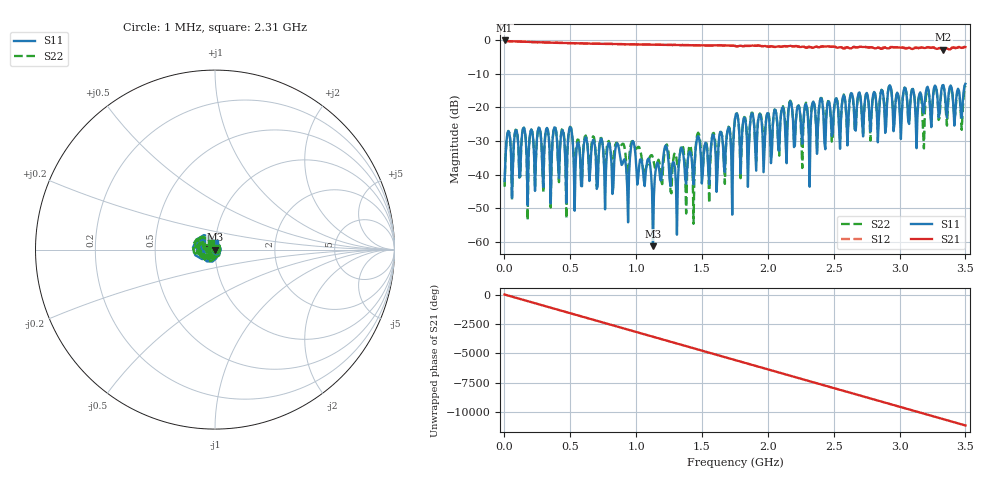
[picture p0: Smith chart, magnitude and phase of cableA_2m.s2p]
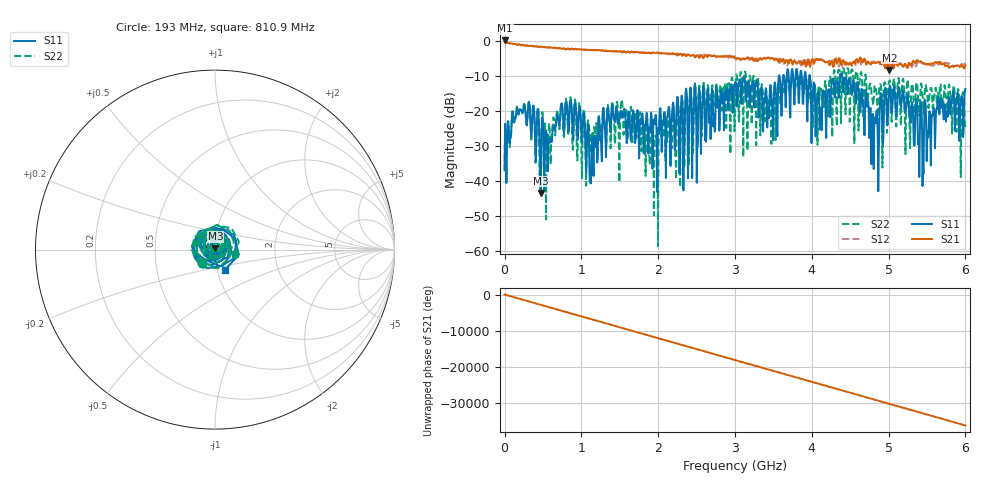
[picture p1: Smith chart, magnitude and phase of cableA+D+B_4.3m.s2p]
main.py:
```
#%%
import serdespy as sdp
import numpy as np
import matplotlib.pyplot as plt
import skrf as rf
import scipy as sp

cableA = './sparams/cableA_2m.s2p'
cableB = './sparams/cableA+D+B_4.3m.s2p'
cableC = './sparams/cableA+D+B+E+C_6.45m.s2p'

#load in touchstone file containing s-params of 2m copper cable connector
thru_file = './sparams/cableA_2m.s2p'
nw = rf.Network(thru_file)

#%%
# generate prbs data with 2e13-1 elements
binary_data = sdp.prbs13(1)

# standard NRZ signal
voltage_levels = np.array([-1, 1])

# baud rate samples signal generated from the binary data and voltage levels
signal_BR = sdp.nrz_input_BR(binary_data, voltage_levels)

# number of samples per NRZ symbol
samples_per_symbol = 100

# oversample the baud rate signal
signal = np.repeat(signal_BR, samples_per_symbol)

# 1Gbps data rate
data_rate = 3e9

# time per bit or unit interval
UI = 1 / data_rate

# timestep in NRZ
dt = UI / samples_per_symbol

# generate eye diagram of ideal signal with 3 UI
sdp.simple_eye(signal, samples_per_symbol*3, 100, dt, f'{data_rate/1e9}Gbps NRZ Signal')





# %% LPF

# 500MHz cutoff frequency
freq_bw = 3e9

# max frequency for constructing discrete transfer function
max_f = 1 / dt

# max_f in rad/s
max_w = max_f * 2 * np.pi

# impulse response length
ir_length = 800

# calculate discrete transfer function of LPF with pole at freq_bw
w, H = sp.signal.freqs([freq_bw * (2 * np.pi)], [1, freq_bw * (2 * np.pi)], np.linspace(0, 0.5 * max_w, ir_length * 4))

# frequency vector for discrete transfer function in Hz
f = w / (2 * np.pi)

#plot frequency response of the LPF
plt.figure(dpi=800)
plt.semilogx(1e-9 * f, 20 * np.log10(abs(H)))
plt.ylabel("Magnitude Response (dB)")
plt.xlabel("Frequency (GHz)")
plt.title(f"Low Pass Filter with {round(freq_bw * 1e-6)}MHz Cutoff Magnitude Bode Plot")
plt.grid()
plt.axvline(x=1e-9*freq_bw, color='grey')
plt.show()

# %%
# find impulse response of LPF
h, t = sdp.freq2impulse(H, f)

# plot impulse response of LPF
plt.figure(dpi=800)
plt.plot(t[:400] * 1e12, h[:400])
plt.title(f"Low Pass Filter with {round(freq_bw * 1e-6)}MHz Cutoff Impulse Response")
plt.xlabel("Time (ps)")
plt.ylabel("Voltage (V)")
plt.show()
# %%

# filtered signal is convoltuion of the impulse response with the signal
signal_filtered = sp.signal.fftconvolve(signal, h[:400])

sdp.simple_eye(signal_filtered[samples_per_symbol*100:], samples_per_symbol*3, 100, UI/samples_per_symbol, f"{data_rate/1e9}Gbps NRZ Signal with {round(freq_bw * 1e-6)}MHz Cutoff Filter")
# # %%

#%%
# t, y = nw.impulse_response()

s12_gated = nw.s12.time_gate(center=0, span=25, t_unit='ns')
# s12_gated.plot_s_db_time()
t, h = s12_gated.impulse_response()

nw.s12.plot_s_db()


# t_start = 545
# t_stop = 600
# plt.stem(t[t_start:t_stop],h[t_start:t_stop])
# plt.show()

# signal_cable = sp.signal.fftconvolve(signal,h[t_start:t_stop])

# sdp.simple_eye(signal_cable[samples_per_symbol*100:], samples_per_symbol*3, 100, UI/samples_per_symbol, title="convolved")

# %%
```
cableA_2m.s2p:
# GHZ S RI R 50.000000000000
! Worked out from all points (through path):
!   501 points, 1 MHz to 3.5 GHz, reference 50 ohm
!   highest |S21| = -0.05 dB at 1 MHz (marker M1); lowest = -2.8 dB at 3.332 GHz (marker M2)
!   group delay of S21, straight-line fit = 8.81 ns
!   lowest |S11| = -61.3 dB at 1.128 GHz (marker M3), VSWR 1.00, Z = 50 - j0.0795 ohm
!   |S11| at or under -10 dB: start of sweep to end of sweep
!   |S22| runs from -54.6 to -13.4 dB; largest |S21 - S12| = 0.029
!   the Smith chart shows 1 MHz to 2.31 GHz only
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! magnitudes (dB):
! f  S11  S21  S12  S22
! 1 MHz  -41.9  0.0  -0.1  -43.6
! 28.99 MHz  -27.0  -0.2  -0.3  -27.0
! 497.9 MHz  -25.8  -0.9  -0.9  -25.8
! 931.7 MHz  -43.6  -1.2  -1.2  -41.9
! 973.7 MHz  -30.0  -1.2  -1.2  -30.1
! 1.128 GHz  -61.3  -1.3  -1.3  -35.0
! 1.226 GHz  -31.3  -1.4  -1.4  -31.3
! 1.31 GHz  -57.9  -1.4  -1.4  -36.2
! 1.75 GHz  -23.4  -1.7  -1.7  -23.4
! 3.332 GHz  -13.3  -2.8  -2.6  -13.5
! 3.5 GHz  -13.0  -2.0  -2.1  -13.5
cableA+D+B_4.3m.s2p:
# GHZ S RI R 50.000000000000
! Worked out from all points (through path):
!   1001 points, 1 MHz to 6 GHz, reference 50 ohm
!   highest |S21| = 0.14 dB at 6.999 MHz (marker M1); lowest = -8.3 dB at 5.01 GHz (marker M2)
!   lowest |S11| = -43.5 dB at 468.9 MHz (marker M3), VSWR 1.01, Z = 50.2 + j0.64 ohm
!   |S11| at or under -10 dB: start of sweep to 3.12 GHz; 3.121 GHz to 3.572 GHz (451.1 MHz wide, 13.5 % of centre); 4.396 GHz to end of sweep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
!   |S22| runs from -58.6 to -7.6 dB; largest |S21 - S12| = 0.15
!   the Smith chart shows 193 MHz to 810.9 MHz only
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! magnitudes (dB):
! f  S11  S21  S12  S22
! 1 MHz  -36.5  -0.1  -0.1  -37.3
! 6.999 MHz  -23.8  0.1  -0.1  -23.2
! 187 MHz  -20.4  -1.0  -1.0  -20.4
! 468.9 MHz  -43.5  -1.7  -1.7  -31.5
! 834.9 MHz  -25.8  -2.2  -2.3  -25.9
! 1.135 GHz  -29.9  -2.6  -2.6  -26.7
! 1.549 GHz  -20.2  -3.1  -2.9  -26.8
! 1.969 GHz  -21.1  -3.4  -3.6  -27.6
! 3.001 GHz  -12.6  -4.7  -4.5  -19.4
! 5.01 GHz  -13.6  -8.3  -6.0  -11.4
! 6 GHz  -13.7  -6.9  -6.1  -24.0
